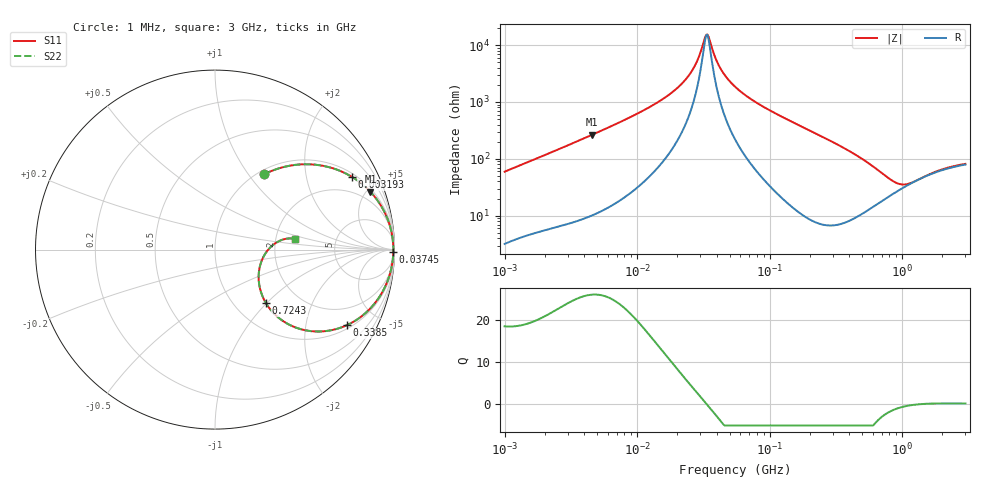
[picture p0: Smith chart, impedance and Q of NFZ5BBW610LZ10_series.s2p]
! NFZ5BBW610LZ10
# Hz S RI R 50
!Freq.(Hz) S11(Real) S11(Imag) S21(Real) S21(Imag) S12(Real) S12(Imag) S22(Real) S22(Imag)
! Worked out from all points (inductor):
!   401 points, 1 MHz to 3 GHz, reference 50 ohm
!   read as one part in series: L = 9.33 uH near 1.041 MHz
!   highest Q = 26.1 at 4.578 MHz (marker M1), where L = 9.21 uH
!   self-resonance near 33.21 MHz
!   S11 on the Smith chart (normalised r, x): 1 MHz: 1.06, +1.19; 3.193 MHz: 1.15, +3.67; 37.45 MHz: open; 338.5 MHz: 1.14, -3.39; 724.3 MHz: 1.38, -1.00; 3 GHz: 2.59, +0.38
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1000000  0.2723 0.4191  0.7277 -0.4191  0.7277 -0.4191  0.2723 0.4191
1822989  0.5272 0.4752  0.4728 -0.4752  0.4728 -0.4752  0.5272 0.4752
3192880  0.7628 0.4055  0.2372 -0.4055  0.2372 -0.4055  0.7628 0.4055
3823119  0.82 0.3652  0.18 -0.3652  0.18 -0.3652  0.82 0.3652
4577760  0.8661 0.3219  0.1339 -0.3219  0.1339 -0.3219  0.8661 0.3219
1.461624e7  0.9836 0.0958  0.0164 -0.0958  0.0164 -0.0958  0.9836 0.0958
2.459509e7  0.9923 0.033  0.00766 -0.033  0.00766 -0.033  0.9923 0.033
2.829425e7  0.9932 0.018  0.00682 -0.018  0.00682 -0.018  0.9932 0.018
3.320783e7  0.9936 0.0013  0.00644 -0.0013  0.00644 -0.0013  0.9936 0.0013
3.456417e7  0.9936 -0.00286  0.00644 0.00286  0.00644 0.00286  0.9936 -0.00286
3.74453e7  0.9935 -0.0112  0.00654 0.0112  0.00654 0.0112  0.9935 -0.0112
4.394807e7  0.9928 -0.0282  0.00718 0.0282  0.00718 0.0282  0.9928 -0.0282
5.477226e7  0.9908 -0.0527  0.00917 0.0527  0.00917 0.0527  0.9908 -0.0527
9.034013e7  0.979 -0.1193  0.021 0.1193  0.021 0.1193  0.979 -0.1193
2.094008e8  0.8934 -0.2953  0.1066 0.2953  0.1066 0.2953  0.8934 -0.2953
3.385367e8  0.7336 -0.4217  0.2664 0.4217  0.2664 0.4217  0.7336 -0.4217
5.051982e8  0.4905 -0.4466  0.5095 0.4466  0.5095 0.4466  0.4905 -0.4466
7.243229e8  0.2846 -0.2994  0.7154 0.2994  0.7154 0.2994  0.2846 -0.2994
8.005644e8  0.2563 -0.2373  0.7437 0.2373  0.7437 0.2373  0.2563 -0.2373
1.080907e9  0.2579 -0.0675  0.7421 0.0675  0.7421 0.0675  0.2579 -0.0675
1.613037e9  0.3485 0.0431  0.6515 -0.0431  0.6515 -0.0431  0.3485 0.0431
3e9  0.4485 0.0583  0.5515 -0.0583  0.5515 -0.0583  0.4485 0.0583
